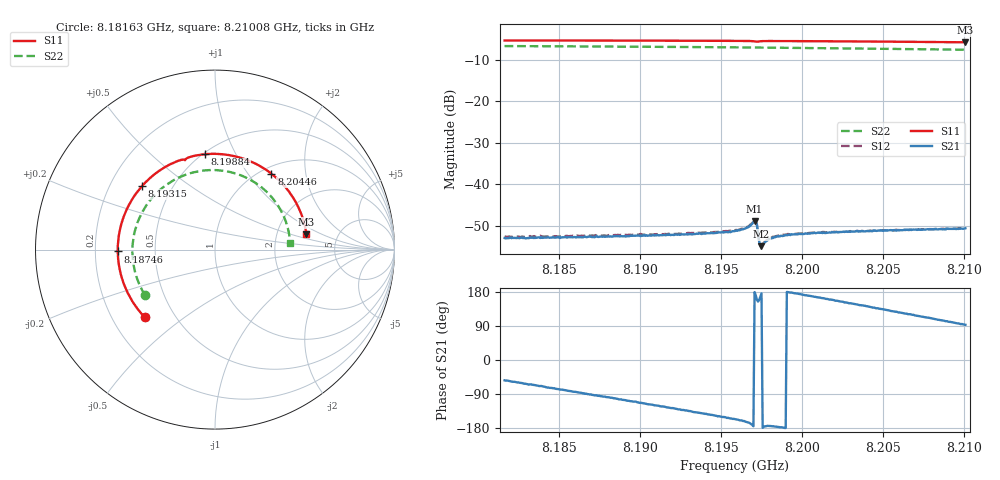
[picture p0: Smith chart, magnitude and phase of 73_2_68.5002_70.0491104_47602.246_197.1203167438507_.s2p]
#  HZ  S  RI  R  50.00
! Rohde & Schwarz Vector Network Analyzer
! Rohde-Schwarz,ZNB20-2Port,1311601062101988,3.16
! Created: UTC 3/20/2024, 5:06:59 PM
! freq[Hz]  re:S11  im:S11  re:S21  im:S21  re:S12  im:S12  re:S22  im:S22
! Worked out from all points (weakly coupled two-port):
!   401 points, 8.18163 GHz to 8.21008 GHz, reference 50 ohm
!   highest |S21| = -48.84 dB at 8.19706 GHz (marker M1); lowest = -54.9 dB at 8.19749 GHz (marker M2)
!   lowest |S11| = -5.7 dB at 8.21008 GHz (marker M3), VSWR 3.14, Z = 148 + j34.3 ohm
!   |S11| at or under -10 dB: nowhere
!   |S22| runs from -7.5 to -6.6 dB; largest |S21 - S12| = 0.00018
!   S11 on the Smith chart (normalised r, x): 8.18163 GHz: 0.34, -0.36; 8.18746 GHz: 0.30, -0.01; 8.19315 GHz: 0.34, +0.34; 8.19884 GHz: 0.51, +0.76; 8.20446 GHz: 1.11, +1.30; 8.21008 GHz: 2.96, +0.69
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8.181628e9  -0.3912 -0.3773  0.00134 -0.00182  0.00142 -0.00191  -0.3896 -0.2544
8.184118e9  -0.489 -0.2356  0.000756 -0.00216  0.000737 -0.00225  -0.4447 -0.1274
8.186393e9  -0.5356 -0.0846  0.000125 -0.0023  9.54e-05 -0.00242  -0.4604 -0.00223
8.18746e9  -0.5417 -0.0103  -0.000178 -0.00233  -0.000242 -0.00239  -0.4557 0.057
8.189309e9  -0.5281 0.118  -0.000723 -0.00227  -0.00082 -0.00235  -0.4298 0.156
8.191159e9  -0.4843 0.2398  -0.00124 -0.00208  -0.00137 -0.00212  -0.3823 0.2473
8.19315e9  -0.4057 0.355  -0.00179 -0.00175  -0.00194 -0.00174  -0.3092 0.3304
8.195853e9  -0.2563 0.4719  -0.00251 -0.00111  -0.00263 -0.00102  -0.1816 0.4103
8.196493e9  -0.2144 0.4913  -0.00281 -0.000877  -0.00291 -0.000791  -0.1475 0.4226
8.197062e9  -0.1724 0.501  -0.00361 5.49e-05  -0.00372 0.000195  -0.1166 0.431
8.197133e9  -0.1679 0.4993  -0.00355 0.000598  -0.00358 0.000749  -0.1127 0.4317
8.197417e9  -0.1599 0.5067  -0.00178 0.000396  -0.00182 0.000468  -0.0974 0.4352
8.197488e9  -0.155 0.5099  -0.0018 0.000141  -0.00185 0.000226  -0.0933 0.436
8.19756e9  -0.1499 0.5123  -0.00187 -3.78e-05  -0.0019 7.2e-05  -0.0893 0.4368
8.198057e9  -0.114 0.5225  -0.00221 -0.000222  -0.00228 -0.00013  -0.0613 0.4407
8.19884e9  -0.0585 0.5312  -0.0024 -6.34e-05  -0.00248 4.7e-05  -0.017 0.4433
8.200618e9  0.0672 0.528  -0.00253 0.000526  -0.00255 0.000646  0.0834 0.4322
8.202538e9  0.1976 0.4917  -0.00241 0.00121  -0.00235 0.00133  0.1865 0.3945
8.204458e9  0.3145 0.4228  -0.00208 0.00185  -0.00199 0.00195  0.2776 0.3314
8.205383e9  0.3636 0.3794  -0.00183 0.00213  -0.00177 0.00222  0.3153 0.2927
8.207801e9  0.4627 0.2399  -0.00107 0.00269  -0.00094 0.00271  0.3891 0.1712
8.210077e9  0.5095 0.085  -0.00015 0.00296  -8.87e-05 0.00297  0.4184 0.0381
